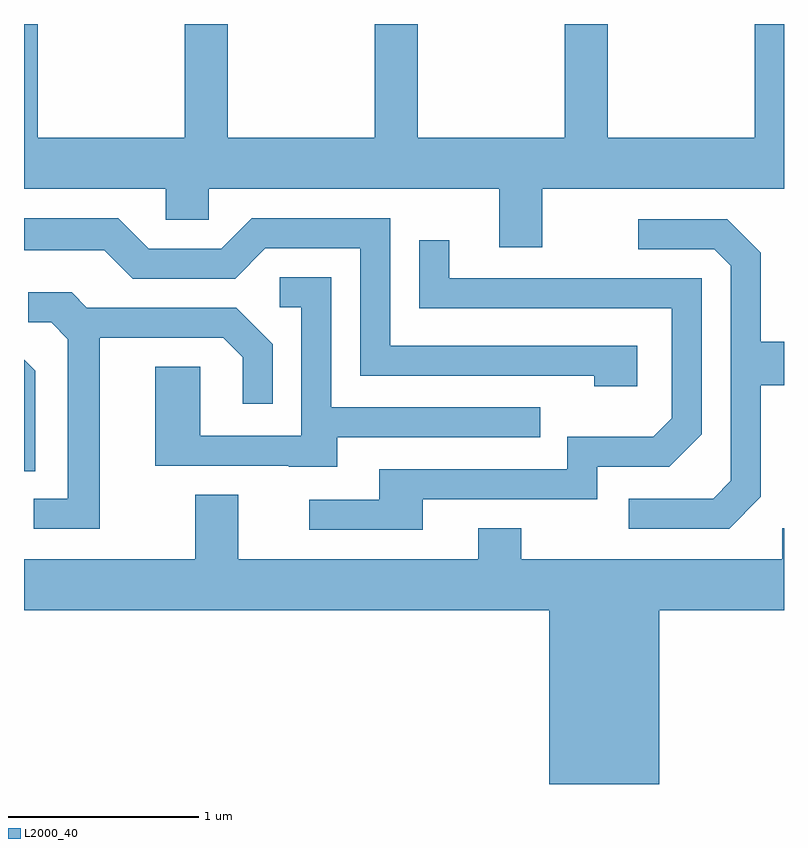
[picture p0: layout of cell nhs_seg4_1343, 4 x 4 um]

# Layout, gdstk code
import gdstk
lib = gdstk.Library(unit=1e-6, precision=1e-09)
def P(c, l, *ps):  # polygons
    for p in ps: c.add(gdstk.Polygon(p, *l))
L2000_40 = (2000, 40)

nhs_seg4_1343 = lib.new_cell('nhs_seg4_1343')
P(nhs_seg4_1343, L2000_40, [(226.339,1359.116),(227.611,1359.116),(227.611,1359.982),(227.456,1359.982),(227.456,1359.384),(226.684,1359.384),(226.684,1359.982),(226.456,1359.982),(226.456,1359.384),(225.684,1359.384),(225.684,1359.982),(225.456,1359.982),(225.456,1359.384),(224.684,1359.384),(224.684,1359.982),(224.456,1359.982),(224.456,1359.384),(223.684,1359.384),(223.684,1359.982),(223.611,1359.982),(223.611,1359.116),(224.356,1359.116),(224.356,1358.951),(224.584,1358.951),(224.584,1359.116),(226.111,1359.116),(226.111,1358.806),(226.339,1358.806)],
  [(226.839,1358.289),(225.539,1358.289),(225.539,1358.959),(224.809,1358.959),(224.649,1358.799),(224.267,1358.799),(224.107,1358.959),(223.611,1358.959),(223.611,1358.791),(224.034,1358.791),(224.184,1358.641),(224.722,1358.641),(224.882,1358.801),(225.381,1358.801),(225.381,1358.131),(226.611,1358.131),(226.611,1358.076),(226.839,1358.076)],
  [(227.489,1357.494),(227.489,1358.081),(227.611,1358.081),(227.611,1358.309),(227.489,1358.309),(227.489,1358.777),(227.312,1358.954),(226.843,1358.954),(226.843,1358.796),(227.244,1358.796),(227.331,1358.709),(227.331,1357.577),(227.239,1357.484),(226.793,1357.484),(226.793,1357.326),(227.322,1357.326)],
  [(225.709,1357.481),(226.629,1357.481),(226.629,1357.651),(227.007,1357.651),(227.179,1357.824),(227.179,1358.644),(225.849,1358.644),(225.849,1358.843),(225.691,1358.843),(225.691,1358.486),(227.021,1358.486),(227.021,1357.907),(226.924,1357.809),(226.471,1357.809),(226.471,1357.639),(225.481,1357.639),(225.481,1357.479),(225.113,1357.479),(225.113,1357.321),(225.709,1357.321)],
  [(225.259,1357.806),(226.328,1357.806),(226.328,1357.964),(225.229,1357.964),(225.229,1358.649),(224.958,1358.649),(224.958,1358.491),(225.071,1358.491),(225.071,1357.814),(224.539,1357.814),(224.539,1358.179),(224.301,1358.179),(224.301,1357.656),(225.005,1357.656),(225.005,1357.651),(225.259,1357.651)],
  [(224.009,1358.331),(224.659,1358.331),(224.761,1358.229),(224.761,1357.983),(224.919,1357.983),(224.919,1358.297),(224.727,1358.489),(223.942,1358.489),(223.862,1358.569),(223.633,1358.569),(223.633,1358.411),(223.754,1358.411),(223.841,1358.324),(223.841,1357.484),(223.663,1357.484),(223.663,1357.326),(224.009,1357.326)],
  [(223.669,1358.157),(223.611,1358.215),(223.611,1357.628),(223.669,1357.628)],
  [(226.954,1356.896),(227.611,1356.896),(227.611,1357.329),(227.601,1357.329),(227.601,1357.164),(226.229,1357.164),(226.229,1357.329),(226.001,1357.329),(226.001,1357.164),(224.739,1357.164),(224.739,1357.504),(224.511,1357.504),(224.511,1357.164),(223.611,1357.164),(223.611,1356.896),(226.376,1356.896),(226.376,1355.982),(226.954,1355.982)])

lib.write_gds('nhs_seg4_1343.gds')
